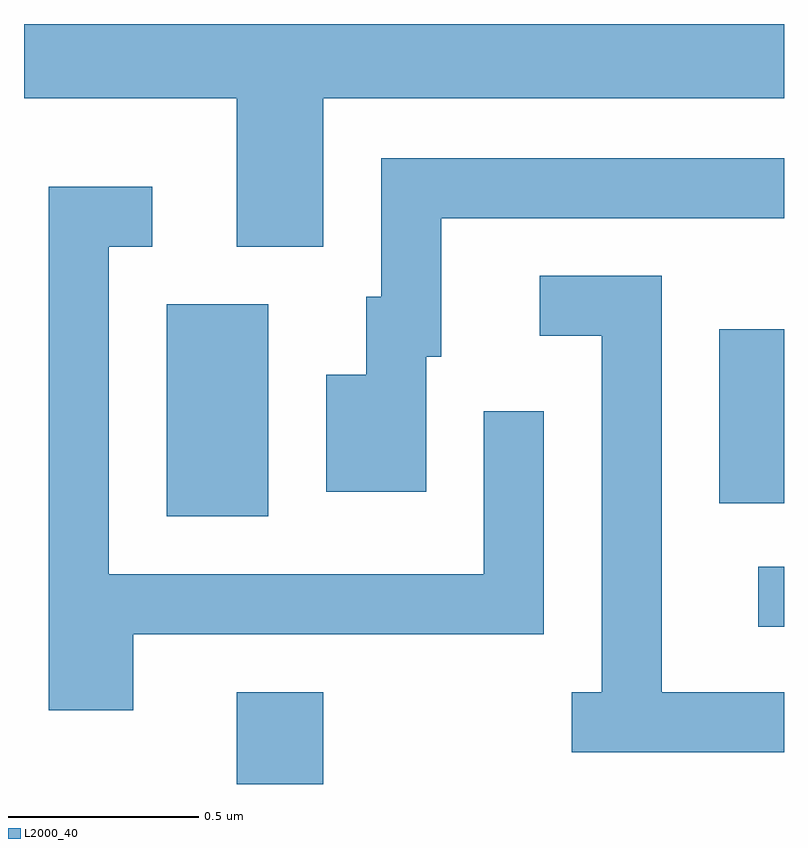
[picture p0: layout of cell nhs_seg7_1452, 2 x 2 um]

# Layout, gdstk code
import gdstk
lib = gdstk.Library(unit=1e-6, precision=1e-09)
def R(c, l, rs):  # rectangles x0, y0, x1, y1
    for r in rs: c.add(gdstk.rectangle(r[:2], r[2:], *l))
def P(c, l, *ps):  # polygons
    for p in ps: c.add(gdstk.Polygon(p, *l))
L2000_40 = (2000, 40)

nhs_seg7_1452 = lib.new_cell('nhs_seg7_1452')
R(nhs_seg7_1452, L2000_40, [(196.171,1750.252,196.399,1750.494), (197.543,1750.666,197.611,1750.824), (195.986,1750.956,196.254,1751.514), (197.441,1750.991,197.611,1751.449)])
P(nhs_seg7_1452, L2000_40, [(196.399,1752.056),(197.611,1752.056),(197.611,1752.252),(195.611,1752.252),(195.611,1752.056),(196.171,1752.056),(196.171,1751.666),(196.399,1751.666)],
  [(196.669,1751.376),(196.709,1751.376),(196.709,1751.741),(197.611,1751.741),(197.611,1751.899),(196.551,1751.899),(196.551,1751.534),(196.511,1751.534),(196.511,1751.329),(196.406,1751.329),(196.406,1751.021),(196.669,1751.021)],
  [(195.899,1750.646),(196.979,1750.646),(196.979,1751.233),(196.821,1751.233),(196.821,1750.804),(195.834,1750.804),(195.834,1751.666),(195.948,1751.666),(195.948,1751.824),(195.676,1751.824),(195.676,1750.446),(195.899,1750.446)],
  [(197.611,1750.494),(197.289,1750.494),(197.289,1751.589),(196.968,1751.589),(196.968,1751.431),(197.131,1751.431),(197.131,1750.494),(197.053,1750.494),(197.053,1750.336),(197.611,1750.336)])

lib.write_gds('nhs_seg7_1452.gds')
